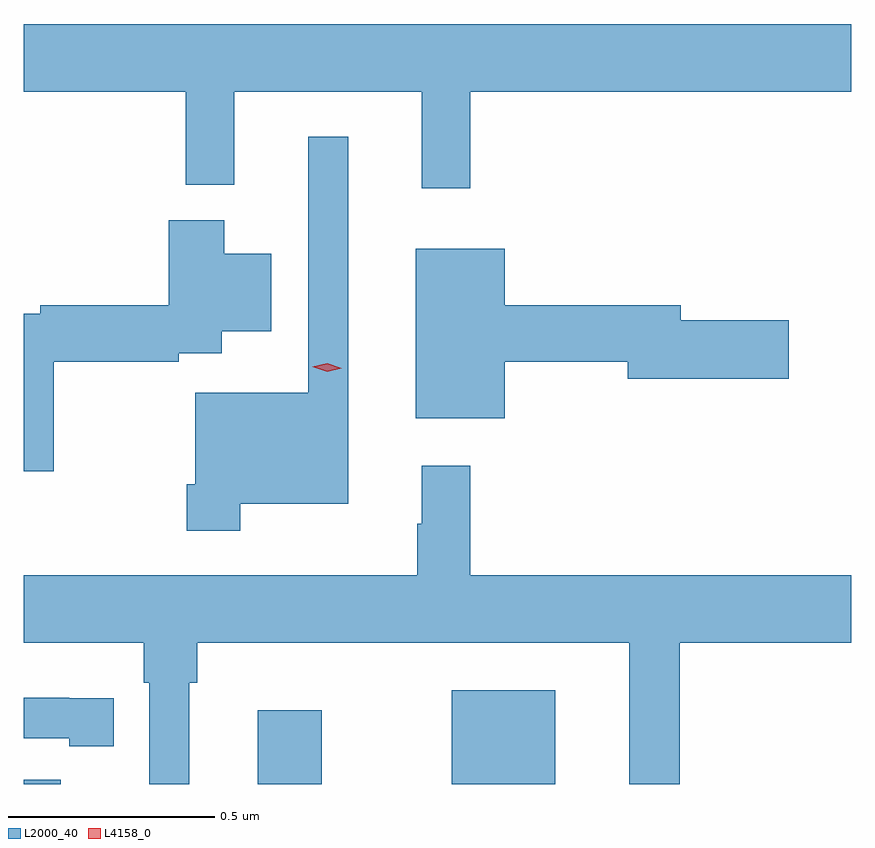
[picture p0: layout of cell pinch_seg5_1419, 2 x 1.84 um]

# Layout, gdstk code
import gdstk
lib = gdstk.Library(unit=1e-6, precision=1e-09)
def R(c, l, rs):  # rectangles x0, y0, x1, y1
    for r in rs: c.add(gdstk.rectangle(r[:2], r[2:], *l))
def P(c, l, *ps):  # polygons
    for p in ps: c.add(gdstk.Polygon(p, *l))
L2000_40 = (2000, 40)
L4158_0 = (4158, 0)

pinch_seg5_1419 = lib.new_cell('pinch_seg5_1419')
R(pinch_seg5_1419, L2000_40, [(205.842,900.375,205.931,900.385), (206.408,900.375,206.562,900.553), (206.876,900.375,207.127,900.601)])
P(pinch_seg5_1419, L2000_40, [(206.921,902.048),(207.842,902.048),(207.842,902.212),(205.842,902.212),(205.842,902.048),(206.233,902.048),(206.233,901.823),(206.351,901.823),(206.351,902.048),(206.804,902.048),(206.804,901.815),(206.921,901.815)],
  [(206.365,901.052),(206.626,901.052),(206.626,901.939),(206.529,901.939),(206.529,901.321),(206.256,901.321),(206.256,901.099),(206.236,901.099),(206.236,900.987),(206.365,900.987)],
  [(205.914,901.396),(206.216,901.396),(206.216,901.416),(206.32,901.416),(206.32,901.469),(206.44,901.469),(206.44,901.657),(206.326,901.657),(206.326,901.738),(206.192,901.738),(206.192,901.532),(205.882,901.532),(205.882,901.512),(205.842,901.512),(205.842,901.131),(205.914,901.131)],
  [(207.004,901.396),(207.302,901.396),(207.302,901.354),(207.691,901.354),(207.691,901.496),(207.43,901.496),(207.43,901.532),(207.004,901.532),(207.004,901.669),(206.789,901.669),(206.789,901.259),(207.004,901.259)],
  [(206.242,900.62),(206.261,900.62),(206.261,900.716),(207.305,900.716),(207.305,900.375),(207.427,900.375),(207.427,900.716),(207.842,900.716),(207.842,900.88),(206.921,900.88),(206.921,901.144),(206.804,901.144),(206.804,901.004),(206.793,901.004),(206.793,900.88),(205.842,900.88),(205.842,900.716),(206.132,900.716),(206.132,900.62),(206.145,900.62),(206.145,900.375),(206.242,900.375)],
  [(206.06,900.582),(205.952,900.582),(205.952,900.583),(205.842,900.583),(205.842,900.486),(205.952,900.486),(205.952,900.466),(206.06,900.466)])
P(pinch_seg5_1419, L4158_0, [(206.575,901.372),(206.539,901.383),(206.539,901.383),(206.539,901.384),(206.576,901.392),(206.611,901.38),(206.611,901.38),(206.611,901.38)])

lib.write_gds('pinch_seg5_1419.gds')
